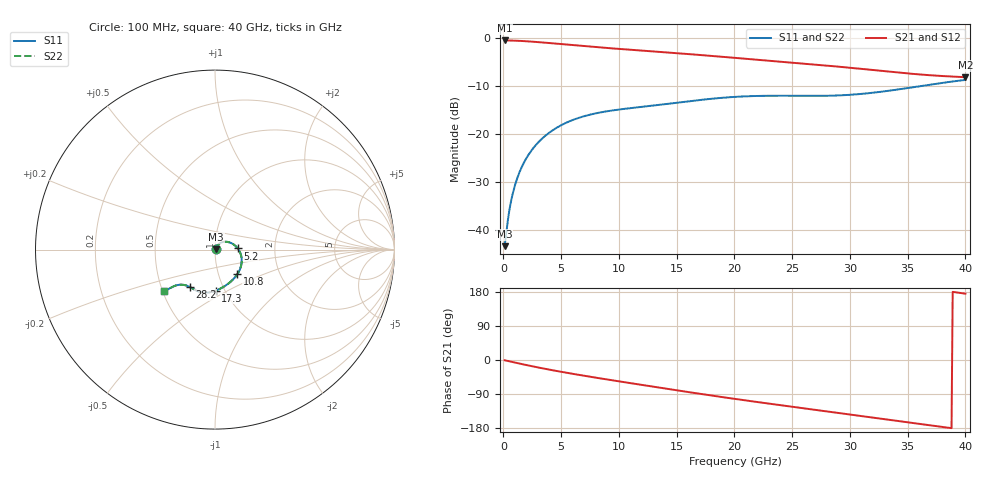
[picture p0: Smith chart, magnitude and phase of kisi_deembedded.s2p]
! D_s8_stitch_none: kisi-fdtd, de-embedded with the 2×thru
# Hz S RI R 50
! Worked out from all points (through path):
!   400 points, 100 MHz to 40 GHz, reference 50 ohm
!   highest |S21| = -0.42 dB at 100 MHz (marker M1); lowest = -8.1 dB at 40 GHz (marker M2)
!   group delay of S21, straight-line fit = 12.4 ps
!   lowest |S11| = -43.5 dB at 100 MHz (marker M3), VSWR 1.01, Z = 50.6 + j0.27 ohm
!   |S11| at or under -10 dB: start of sweep to 36.07 GHz
!   |S22| runs from -43.5 to -8.7 dB; largest |S21 - S12| = 3.1e-07
!   S11 on the Smith chart (normalised r, x): 100 MHz: 1.01, +0.01; 5.2 GHz: 1.29, +0.02; 10.8 GHz: 1.23, -0.35; 17.3 GHz: 0.91, -0.44; 28.2 GHz: 0.70, -0.31; 40 GHz: 0.51, -0.27
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1e8  0.00615 0.00267  0.9522 -0.0114  0.9522 -0.0114  0.00615 0.00267
4e8  0.00753 0.0106  0.9504 -0.0456  0.9504 -0.0456  0.00753 0.0106
5e8  0.00836 0.0131  0.9494 -0.0569  0.9494 -0.0569  0.00836 0.0131
7e8  0.0105 0.0181  0.9466 -0.0794  0.9466 -0.0794  0.0105 0.0181
1.1e9  0.0168 0.0271  0.9383 -0.1236  0.9383 -0.1236  0.0168 0.0271
1.6e9  0.0279 0.036  0.9235 -0.1767  0.9235 -0.1767  0.0279 0.036
2.3e9  0.0474 0.043  0.8957 -0.2459  0.8957 -0.2459  0.0474 0.043
3.1e9  0.0722 0.0424  0.8565 -0.3168  0.8565 -0.3168  0.0722 0.0424
4.1e9  0.1017 0.0302  0.8006 -0.3932  0.8006 -0.3932  0.1017 0.0302
5.2e9  0.127 0.0063  0.7341 -0.4632  0.7341 -0.4632  0.127 0.0063
6.8e9  0.1465 -0.0374  0.6337 -0.5434  0.6337 -0.5434  0.1465 -0.0374
8.7e9  0.1456 -0.0891  0.5132 -0.6124  0.5132 -0.6124  0.1456 -0.0891
1.08e10  0.1242 -0.1374  0.3806 -0.6625  0.3806 -0.6625  0.1242 -0.1374
1.34e10  0.0812 -0.184  0.2189 -0.6909  0.2189 -0.6909  0.0812 -0.184
1.73e10  0.00296 -0.2289  -0.006 -0.667  -0.006 -0.667  0.00296 -0.2289
2.01e10  -0.0479 -0.2401  -0.1399 -0.6095  -0.1399 -0.6095  -0.0479 -0.2401
2.33e10  -0.091 -0.2342  -0.258 -0.5199  -0.258 -0.5199  -0.091 -0.2342
2.67e10  -0.1263 -0.2159  -0.3473 -0.4086  -0.3473 -0.4086  -0.1263 -0.2159
2.82e10  -0.1419 -0.2074  -0.3755 -0.3553  -0.3755 -0.3553  -0.1419 -0.2074
3.07e10  -0.1706 -0.1973  -0.4061 -0.2637  -0.4061 -0.2637  -0.1706 -0.1973
3.34e10  -0.2046 -0.1967  -0.417 -0.1671  -0.417 -0.1671  -0.2046 -0.1967
4e10  -0.2857 -0.2318  -0.3913 0.034  -0.3913 0.034  -0.2857 -0.2318
